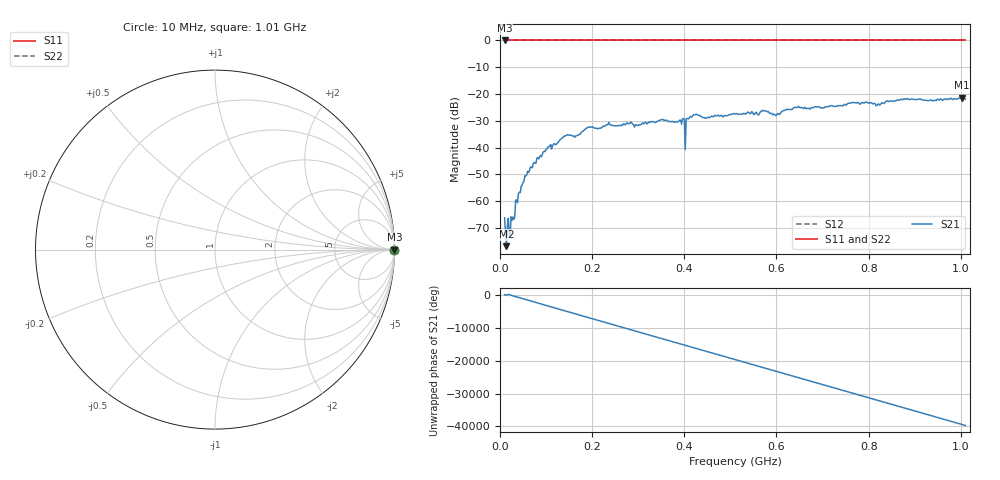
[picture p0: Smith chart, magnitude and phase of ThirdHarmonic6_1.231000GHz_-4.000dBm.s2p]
! 8/16/2025 12:59:37 PM
! C:\ANRITSUVNA\TEMP\TEMP.S2P
! CHANNEL.1
! TR.MEASUREMENT
! RAW.DATA
! RF.CORRECTION.OFF
! AVERAGING.OFF
! IF.BANDWIDTH: 5KHZ
! SWEEPTYPE:  FREQ.SWEEP(Linear)
! Reference Plane Port Info
! PORT:  PORT1  PORT2
! DISTANCE:  0  m  0  m
! TIME:  0  s  0  s
! PHASE.OFFSET:  0  deg.  0  deg.
! LOSS:  0  dB  0  dB
! REF.LOSS:  0  dB  0  dB
! REF.FREQ:  0  Hz  0  Hz
! Power Info
! POWER:  -20  dBm  -20  dBm
! EFF.POWER:  -20  dBm  -20  dBm
! SOURCE.ATTEN:  0  dB  0  dB
! TEST.ATTEN:  0  dB  0  dB
# GHZ S RI R 50.0
! FREQ.GHZ  S11RE  S11IM  S21RE  S21IM  S12RE  S12IM  S22RE  S22IM
!; PortSelection: Port_12
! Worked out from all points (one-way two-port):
!   501 points, 10 MHz to 1.01 GHz, reference 50 ohm
!   highest |S21| = -21.40 dB at 1.002 GHz (marker M1); lowest = -76.8 dB at 14 MHz (marker M2)
!   lowest |S11| = 0.0 dB at 10 MHz (marker M3)
!   |S11| at or under -10 dB: nowhere
!   |S22| runs from 0.0 to 0.0 dB; largest |S21 - S12| = 1.1
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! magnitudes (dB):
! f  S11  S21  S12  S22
! 10 MHz  0.0  -66.2  0.0  0.0
! 14 MHz  0.0  -76.8  0.0  0.0
! 18 MHz  0.0  -66.3  0.0  0.0
! 24 MHz  0.0  -65.8  0.0  0.0
! 38 MHz  0.0  -60.5  0.0  0.0
! 56 MHz  0.0  -50.6  0.0  0.0
! 84 MHz  0.0  -44.2  0.0  0.0
! 142 MHz  0.0  -35.6  0.0  0.0
! 178 MHz  0.0  -34.0  0.0  0.0
! 234 MHz  0.0  -31.5  0.0  0.0
! 344 MHz  0.0  -30.1  0.0  0.0
! 396 MHz  0.0  -29.3  0.0  0.0
! 398 MHz  0.0  -29.2  0.0  0.0
! 424 MHz  0.0  -27.7  0.0  0.0
! 510 MHz  0.0  -27.4  0.0  0.0
! 574 MHz  0.0  -26.2  0.0  0.0
! 596 MHz  0.0  -27.6  0.0  0.0
! 644 MHz  0.0  -25.0  0.0  0.0
! 678 MHz  0.0  -25.1  0.0  0.0
! 844 MHz  0.0  -22.8  0.0  0.0
! 1.002 GHz  0.0  -21.4  0.0  0.0
! 1.01 GHz  0.0  -21.9  0.0  0.0
